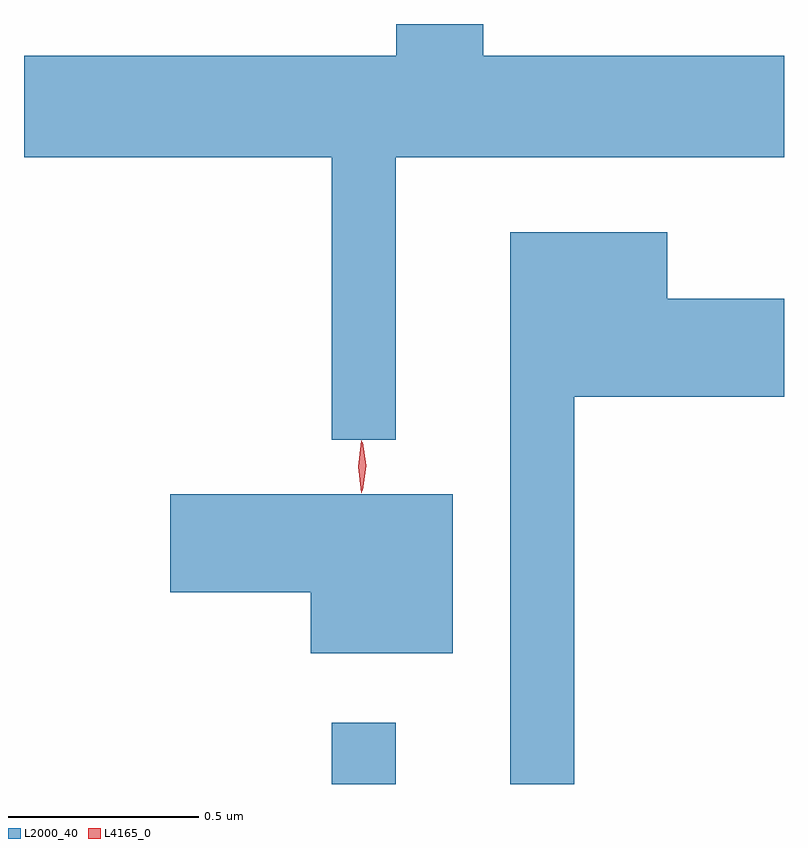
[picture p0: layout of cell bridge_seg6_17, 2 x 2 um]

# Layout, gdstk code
import gdstk
lib = gdstk.Library(unit=1e-6, precision=1e-09)
def R(c, l, rs):  # rectangles x0, y0, x1, y1
    for r in rs: c.add(gdstk.rectangle(r[:2], r[2:], *l))
def P(c, l, *ps):  # polygons
    for p in ps: c.add(gdstk.Polygon(p, *l))
L2000_40 = (2000, 40)
L4165_0 = (4165, 0)

bridge_seg6_17 = lib.new_cell('bridge_seg6_17')
R(bridge_seg6_17, L2000_40, [(1831.141,1610.547,1831.309,1610.708)])
P(bridge_seg6_17, L2000_40, [(1831.309,1612.196),(1832.331,1612.196),(1832.331,1612.464),(1831.539,1612.464),(1831.539,1612.547),(1831.311,1612.547),(1831.311,1612.464),(1830.331,1612.464),(1830.331,1612.196),(1831.141,1612.196),(1831.141,1611.453),(1831.309,1611.453)],
  [(1831.779,1611.566),(1832.331,1611.566),(1832.331,1611.824),(1832.024,1611.824),(1832.024,1611.999),(1831.611,1611.999),(1831.611,1610.547),(1831.779,1610.547)],
  [(1831.459,1611.309),(1830.716,1611.309),(1830.716,1611.051),(1831.086,1611.051),(1831.086,1610.891),(1831.459,1610.891)])
P(bridge_seg6_17, L4165_0, [(1831.219,1611.314),(1831.21,1611.382),(1831.219,1611.45),(1831.22,1611.45),(1831.22,1611.45),(1831.23,1611.382),(1831.22,1611.314),(1831.22,1611.314)],
  [(1831.222,1611.32),(1831.222,1611.32),(1831.212,1611.384),(1831.222,1611.446),(1831.222,1611.447),(1831.223,1611.446),(1831.232,1611.384),(1831.223,1611.32)])

lib.write_gds('bridge_seg6_17.gds')
